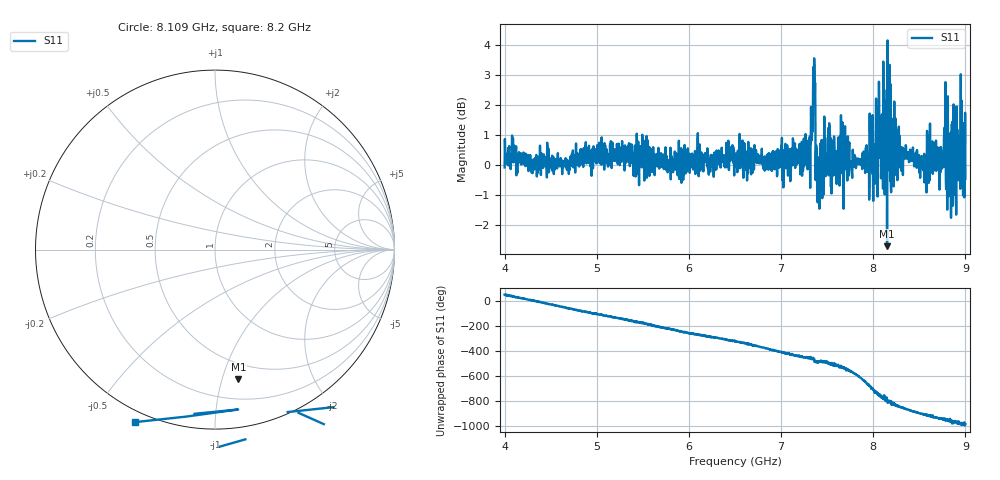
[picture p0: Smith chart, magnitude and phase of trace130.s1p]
! Created with skrf 1.8.0 (http://scikit-rf.org).
# Hz S RI R 50.0
!freq ReS11 ImS11
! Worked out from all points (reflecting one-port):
!   1601 points, 4 GHz to 9 GHz, reference 50 ohm
!   lowest |S11| = -2.7 dB at 8.15 GHz (marker M1), VSWR 6.47, Z = 18.2 - j56.5 ohm
!   phase of S11 starts at 53 deg and turns -1041 deg over the sweep
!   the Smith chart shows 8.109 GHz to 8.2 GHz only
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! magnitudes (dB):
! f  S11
! 4 GHz  -0.1
! 4.625 GHz  -0.3
! 5.25 GHz  0.0
! 5.875 GHz  0.1
! 6.5 GHz  0.2
! 7.125 GHz  0.0
! 7.294 GHz  0.2
! 7.319 GHz  0.7
! 7.347 GHz  2.5
! 7.369 GHz  2.7
! 7.4 GHz  0.3
! 7.512 GHz  1.2
! 7.609 GHz  -0.5
! 7.669 GHz  0.3
! 7.75 GHz  0.0
! 7.934 GHz  -0.1
! 8.022 GHz  0.7
! 8.047 GHz  -1.1
! 8.15 GHz  -2.7
! 8.178 GHz  3.3
! 8.209 GHz  0.7
! 8.375 GHz  0.3
! 8.553 GHz  0.4
! 8.784 GHz  2.7
! 8.841 GHz  1.1
! 8.919 GHz  0.1
! 8.959 GHz  2.1
! 9 GHz  -0.5
